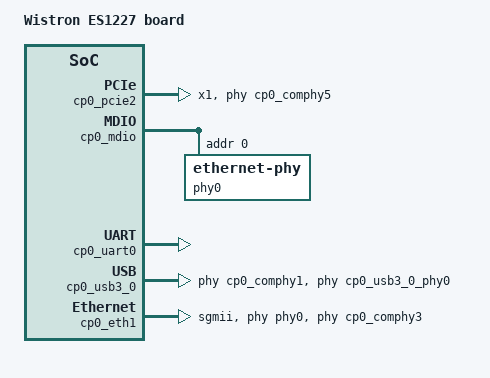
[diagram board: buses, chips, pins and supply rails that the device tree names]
// SPDX-License-Identifier: (GPL-2.0+ OR MIT)
/*
 * Copyright (C) 2021 Marvell International Ltd.
 *
 * Device tree for the CN9130-CRB-A board.
 */

#include "es1227-54ts.dtsi"
/ {
	model = "Wistron ES1227 board";
};

&cp0_pcie2 {
	status = "okay";
	num-lanes = <1>;
	num-viewport = <8>;

	/* Generic PHY, providing serdes lanes */
	phys = <&cp0_comphy5 2>;
	iommu-map = <0x0   &smmu 0x480 0x20>,
		    <0x100 &smmu 0x4a0 0x20>,
		    <0x200 &smmu 0x4c0 0x20>;
	iommu-map-mask = <0x031f>;
};

&cp0_mdio {
	status = "okay";
	pinctrl-names = "default";
	pinctrl-0 = <&cp0_ge_mdio_pins>;

	phy0: ethernet-phy@0 {
		reg = <0>;
		marvell,reg-init = <0x2 0x1A 0x7FFF 0x8000>,
				   <0x2 0x0 0x7FFF  0x8000>,
				   <0x1 0x10 0xFDFF 0x200>;
	};
};

&cp0_xmdio {
	status = "disabled";
};

&cp0_uart0 {
	pinctrl-names = "default";
	status = "okay";
	pinctrl-0 = <&cp0_uart0_pins>;
};

&cp0_usb3_0 {
	status = "okay";
	usb-phy = <&cp0_usb3_0_phy0>;
	phys = <&cp0_comphy1 0>;
	phy-names = "usb3";
};

&cp0_eth0 {
	status = "disabled";
};

/* CON56 */
&cp0_eth1 {
	status = "okay";
	phys = <&cp0_comphy3 1>;
	phy-handle = <&phy0>;
	phy-mode = "sgmii";
};

&cp0_eth2 {
	status = "disabled";
};

&cp0_rtc {
	status = "disabled";
};
